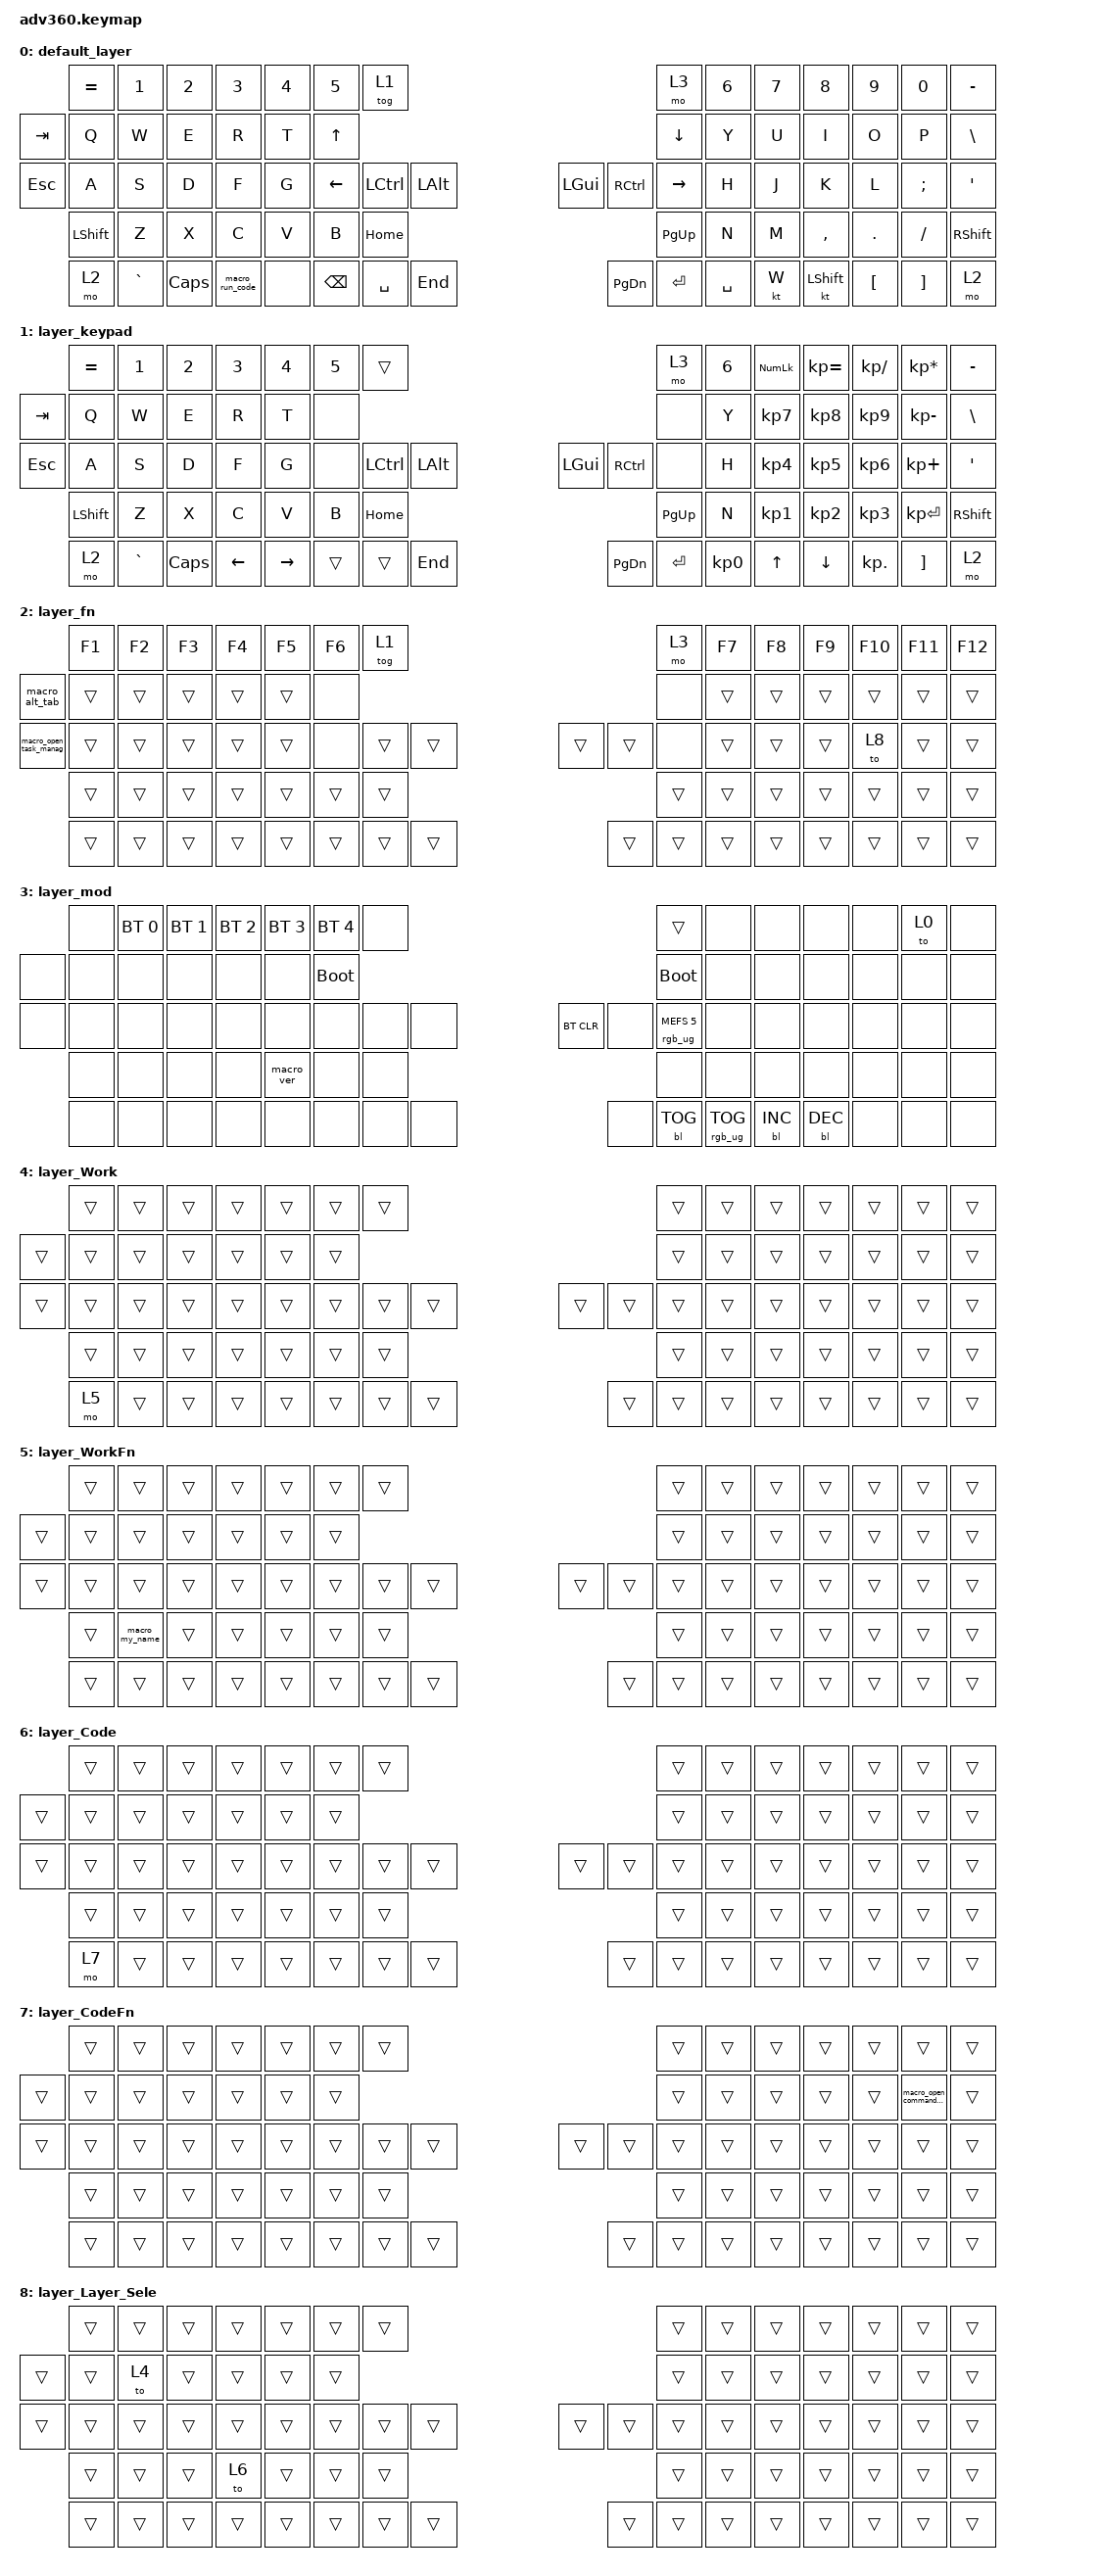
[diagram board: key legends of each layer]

/*
 * Copyright (c) 2020 The ZMK Contributors
 *
 * SPDX-License-Identifier: MIT
 */


/* THIS FILE WAS GENERATED!
 *
 * This file was generated automatically. You may or may not want to
 * edit it directly.
 */

#include <behaviors.dtsi>
#include <dt-bindings/zmk/keys.h>
#include <dt-bindings/zmk/keys.h>
#include <dt-bindings/zmk/bt.h>
#include <dt-bindings/zmk/rgb.h>
#include <dt-bindings/zmk/backlight.h>

/ {
  behaviors {
    #include "macros.dtsi"
    #include "version.dtsi"

    hm: homerow_mods {
        compatible = "zmk,behavior-hold-tap";
        label = "HOMEROW_MODS";
        #binding-cells = <2>;
        tapping-term-ms = <200>;
        quick_tap_ms = <175>;
        flavor = "tap-preferred";
        bindings = <&kp>, <&kp>;
    };
  };

    keymap {
        compatible = "zmk,keymap";


        default_layer {
            bindings = <
 &kp EQUAL     &kp N1    &kp N2           &kp N3  &kp N4  &kp N5                   &tog 1                                                                 &mo 3  &kp N6  &kp N7      &kp N8    &kp N9    &kp N0  &kp MINUS
   &kp TAB      &kp Q     &kp W            &kp E   &kp R   &kp T                   &kp UP                                                              &kp DOWN   &kp Y   &kp U       &kp I     &kp O     &kp P   &kp BSLH
   &kp ESC      &kp A     &kp S            &kp D   &kp F   &kp G                 &kp LEFT  &kp LCTRL  &kp LALT                   &kp LGUI  &kp RCTRL  &kp RIGHT   &kp H   &kp J       &kp K     &kp L  &kp SEMI    &kp SQT
 &kp LSHFT      &kp Z     &kp X            &kp C   &kp V   &kp B                                      &kp HOME                  &kp PG_UP                         &kp N   &kp M   &kp COMMA   &kp DOT  &kp FSLH  &kp RSHFT
     &mo 2  &kp GRAVE  &kp CAPS  &macro_run_code   &none                    &kp BACKSPACE  &kp SPACE   &kp END                  &kp PG_DN  &kp ENTER  &kp SPACE           &kt W  &kt LSHIFT  &kp LBKT  &kp RBKT      &mo 2
            >;
        };

        layer_keypad {
            bindings = <
 &kp EQUAL     &kp N1    &kp N2    &kp N3     &kp N4  &kp N5            &trans                                                                 &mo 3  &kp N6  &kp KP_NUM  &kp KP_EQUAL  &kp KP_DIVIDE  &kp KP_MULTIPLY  &kp MINUS
   &kp TAB      &kp Q     &kp W     &kp E      &kp R   &kp T             &none                                                                 &none   &kp Y   &kp KP_N7     &kp KP_N8      &kp KP_N9     &kp KP_MINUS   &kp BSLH
   &kp ESC      &kp A     &kp S     &kp D      &kp F   &kp G             &none  &kp LCTRL  &kp LALT                   &kp LGUI  &kp RCTRL      &none   &kp H   &kp KP_N4     &kp KP_N5      &kp KP_N6      &kp KP_PLUS    &kp SQT
 &kp LSHFT      &kp Z     &kp X     &kp C      &kp V   &kp B                               &kp HOME                  &kp PG_UP                         &kp N   &kp KP_N1     &kp KP_N2      &kp KP_N3     &kp KP_ENTER  &kp RSHFT
     &mo 2  &kp GRAVE  &kp CAPS  &kp LEFT  &kp RIGHT                    &trans     &trans   &kp END                  &kp PG_DN  &kp ENTER  &kp KP_N0              &kp UP      &kp DOWN     &kp KP_DOT         &kp RBKT      &mo 2
            >;
        };

        layer_fn {
            bindings = <
                 &kp F1  &kp F2  &kp F3  &kp F4  &kp F5  &kp F6            &tog 1                                                   &mo 3  &kp F7  &kp F8  &kp F9  &kp F10  &kp F11  &kp F12
         &macro_alt_tab  &trans  &trans  &trans  &trans  &trans             &none                                                   &none  &trans  &trans  &trans   &trans   &trans   &trans
 &macro_open_task_manag  &trans  &trans  &trans  &trans  &trans             &none  &trans  &trans                  &trans  &trans   &none  &trans  &trans  &trans    &to 8   &trans   &trans
                 &trans  &trans  &trans  &trans  &trans  &trans                            &trans                  &trans                  &trans  &trans  &trans   &trans   &trans   &trans
                 &trans  &trans  &trans  &trans  &trans                    &trans  &trans  &trans                  &trans  &trans  &trans          &trans  &trans   &trans   &trans   &trans
            >;
        };

        layer_mod {
            bindings = <
  &none  &bt BT_SEL 0  &bt BT_SEL 1  &bt BT_SEL 2  &bt BT_SEL 3  &bt BT_SEL 4                  &none                                                                          &trans   &none       &none       &none   &none   &to 0   &none
  &none         &none         &none         &none         &none         &none            &bootloader                                                                     &bootloader   &none       &none       &none   &none   &none   &none
  &none         &none         &none         &none         &none         &none                  &none   &none   &none                  &bt BT_CLR       &none  &rgb_ug RGB_MEFS_CMD 5   &none       &none       &none   &none   &none   &none
  &none         &none         &none         &none    &macro_ver         &none                                  &none                       &none                                       &none       &none       &none   &none   &none   &none
  &none         &none         &none         &none         &none                                &none   &none   &none                       &none  &bl BL_TOG         &rgb_ug RGB_TOG          &bl BL_INC  &bl BL_DEC   &none   &none   &none
            >;
        };

        layer_Work {
            bindings = <
 &trans  &trans  &trans  &trans  &trans  &trans            &trans                                                  &trans  &trans  &trans  &trans  &trans  &trans  &trans
 &trans  &trans  &trans  &trans  &trans  &trans            &trans                                                  &trans  &trans  &trans  &trans  &trans  &trans  &trans
 &trans  &trans  &trans  &trans  &trans  &trans            &trans  &trans  &trans                  &trans  &trans  &trans  &trans  &trans  &trans  &trans  &trans  &trans
 &trans  &trans  &trans  &trans  &trans  &trans                            &trans                  &trans                  &trans  &trans  &trans  &trans  &trans  &trans
  &mo 5  &trans  &trans  &trans  &trans                    &trans  &trans  &trans                  &trans  &trans  &trans          &trans  &trans  &trans  &trans  &trans
            >;
        };

        layer_WorkFn {
            bindings = <
 &trans          &trans  &trans  &trans  &trans  &trans            &trans                                                  &trans  &trans  &trans  &trans  &trans  &trans  &trans
 &trans          &trans  &trans  &trans  &trans  &trans            &trans                                                  &trans  &trans  &trans  &trans  &trans  &trans  &trans
 &trans          &trans  &trans  &trans  &trans  &trans            &trans  &trans  &trans                  &trans  &trans  &trans  &trans  &trans  &trans  &trans  &trans  &trans
 &trans  &macro_my_name  &trans  &trans  &trans  &trans                            &trans                  &trans                  &trans  &trans  &trans  &trans  &trans  &trans
 &trans          &trans  &trans  &trans  &trans                    &trans  &trans  &trans                  &trans  &trans  &trans          &trans  &trans  &trans  &trans  &trans
            >;
        };

        layer_Code {
            bindings = <
 &trans  &trans  &trans  &trans  &trans  &trans            &trans                                                  &trans  &trans  &trans  &trans  &trans  &trans  &trans
 &trans  &trans  &trans  &trans  &trans  &trans            &trans                                                  &trans  &trans  &trans  &trans  &trans  &trans  &trans
 &trans  &trans  &trans  &trans  &trans  &trans            &trans  &trans  &trans                  &trans  &trans  &trans  &trans  &trans  &trans  &trans  &trans  &trans
 &trans  &trans  &trans  &trans  &trans  &trans                            &trans                  &trans                  &trans  &trans  &trans  &trans  &trans  &trans
  &mo 7  &trans  &trans  &trans  &trans                    &trans  &trans  &trans                  &trans  &trans  &trans          &trans  &trans  &trans  &trans  &trans
            >;
        };

        layer_CodeFn {
            bindings = <
 &trans  &trans  &trans  &trans  &trans  &trans            &trans                                                  &trans  &trans  &trans  &trans  &trans                  &trans  &trans
 &trans  &trans  &trans  &trans  &trans  &trans            &trans                                                  &trans  &trans  &trans  &trans  &trans  &macro_open_command_pa  &trans
 &trans  &trans  &trans  &trans  &trans  &trans            &trans  &trans  &trans                  &trans  &trans  &trans  &trans  &trans  &trans  &trans                  &trans  &trans
 &trans  &trans  &trans  &trans  &trans  &trans                            &trans                  &trans                  &trans  &trans  &trans  &trans                  &trans  &trans
 &trans  &trans  &trans  &trans  &trans                    &trans  &trans  &trans                  &trans  &trans  &trans          &trans  &trans  &trans                  &trans  &trans
            >;
        };

        layer_Layer_Sele {
            bindings = <
 &trans  &trans  &trans  &trans  &trans  &trans            &trans                                                  &trans  &trans  &trans  &trans  &trans  &trans  &trans
 &trans  &trans   &to 4  &trans  &trans  &trans            &trans                                                  &trans  &trans  &trans  &trans  &trans  &trans  &trans
 &trans  &trans  &trans  &trans  &trans  &trans            &trans  &trans  &trans                  &trans  &trans  &trans  &trans  &trans  &trans  &trans  &trans  &trans
 &trans  &trans  &trans   &to 6  &trans  &trans                            &trans                  &trans                  &trans  &trans  &trans  &trans  &trans  &trans
 &trans  &trans  &trans  &trans  &trans                    &trans  &trans  &trans                  &trans  &trans  &trans          &trans  &trans  &trans  &trans  &trans
            >;
        };

    };
};
